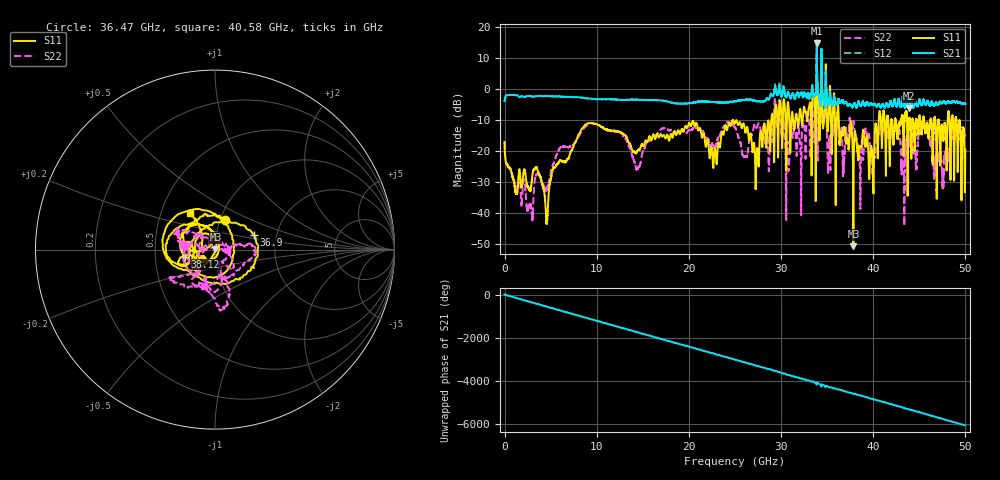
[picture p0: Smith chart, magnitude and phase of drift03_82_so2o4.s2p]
!Created with skrf (http://scikit-rf.org).
# Hz S RI R 50.0
!freq ReS11 ImS11 ReS21 ImS21 ReS12 ImS12 ReS22 ImS22
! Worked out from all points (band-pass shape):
!   10001 points, 300 kHz to 50 GHz, reference 50 ohm
!   highest |S21| = 14.63 dB at 33.88 GHz (marker M1); lowest = -6.3 dB at 43.92 GHz (marker M2)
!   |S21| within 3 dB of the highest: 33.86917 GHz to 33.8882 GHz (19.03 MHz wide, 0.0562 % of centre); 34.37719 GHz to 34.38806 GHz (10.87 MHz wide, 0.0316 % of centre)
!   lowest |S11| = -50.8 dB at 37.85 GHz (marker M3), VSWR 1.01, Z = 50.3 + j0.107 ohm
!   |S11| at or under -10 dB: start of sweep to 28.94 GHz; 36.27 GHz to 40.6 GHz (4.334 GHz wide, 11.3 % of centre); 47.09 GHz to 48.08 GHz (989.3 MHz wide, 2.08 % of centre) (the widest 3 of 64)
!   |S22| runs from -44.2 to 11.5 dB; largest |S21 - S12| = 0.82
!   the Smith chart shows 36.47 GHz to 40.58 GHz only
!   S11 on the Smith chart (normalised r, x): 36.47 GHz: 1.06, +0.36; 36.9 GHz: 1.53, +0.26; 38.12 GHz: 0.71, -0.06; 40.58 GHz: 0.70, +0.30
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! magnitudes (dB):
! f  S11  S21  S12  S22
! 300 kHz  -17.2  -4.0  -4.0  -16.9
! 2.82 GHz  -32.6  -2.4  -2.4  -37.8
! 4.555 GHz  -43.5  -2.3  -2.3  -32.4
! 8.335 GHz  -13.1  -2.8  -2.8  -13.9
! 14.45 GHz  -19.8  -3.5  -3.5  -25.7
! 16.67 GHz  -15.4  -3.7  -3.7  -14.3
! 22.82 GHz  -19.3  -4.3  -4.3  -19.2
! 25 GHz  -11.0  -4.0  -4.0  -12.5
! 27.39 GHz  -19.4  -4.1  -4.1  -12.3
! 29.6 GHz  -10.4  -2.0  -2.1  -11.6
! 30.7 GHz  -5.5  -1.3  -1.4  -17.0
! 33.34 GHz  -13.9  -0.4  -0.5  -6.9
! 33.88 GHz  15.6  14.6  14.3  11.2
! 36.47 GHz  -15.1  -4.3  -4.3  -15.2
! 36.9 GHz  -12.7  -4.6  -4.6  -20.9
! 37.85 GHz  -50.8  -5.4  -5.4  -11.0
! 38.12 GHz  -15.3  -5.9  -5.7  -15.9
! 40.58 GHz  -12.1  -4.9  -5.0  -13.5
! 41.67 GHz  -12.2  -5.9  -5.9  -15.0
! 43.92 GHz  -10.1  -6.3  -6.1  -16.5
! 47.57 GHz  -15.3  -4.3  -4.3  -30.1
! 50 GHz  -19.6  -4.9  -4.9  -15.1
